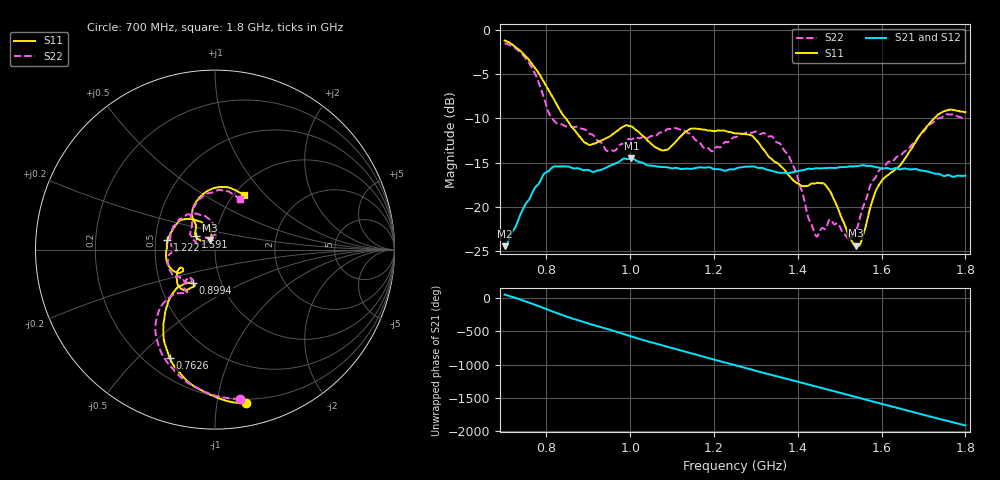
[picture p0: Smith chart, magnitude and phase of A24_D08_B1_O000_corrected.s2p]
! Created with skrf 1.9.0 (http://scikit-rf.org).
# Hz S RI R 50.0
!freq ReS11 ImS11 ReS21 ImS21 ReS12 ImS12 ReS22 ImS22
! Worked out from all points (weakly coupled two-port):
!   1601 points, 700 MHz to 1.8 GHz, reference 50 ohm
!   highest |S21| = -14.52 dB at 1.002 GHz (marker M1); lowest = -24.5 dB at 700.7 MHz (marker M2)
!   lowest |S11| = -24.4 dB at 1.538 GHz (marker M3), VSWR 1.13, Z = 47 + j5.02 ohm
!   |S11| at or under -10 dB: 846 MHz to 1.725 GHz (879.4 MHz wide, 68.4 % of centre)
!   |S22| runs from -23.8 to -1.5 dB; largest |S21 - S12| = 0.0037
!   S11 on the Smith chart (normalised r, x): 700 MHz: 0.17, -1.21; 762.6 MHz: 0.30, -0.63; 899.4 MHz: 0.73, -0.29; 1.222 GHz: 0.58, +0.07; 1.591 GHz: 0.80, +0.12; 1.8 GHz: 1.12, +0.76
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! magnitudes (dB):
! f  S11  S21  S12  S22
! 700 MHz  -1.2  -24.5  -24.3  -1.5
! 700.7 MHz  -1.2  -24.5  -24.2  -1.5
! 762.6 MHz  -3.7  -18.8  -18.8  -4.0
! 815.5 MHz  -7.7  -15.5  -15.6  -10.1
! 883.6 MHz  -12.3  -15.8  -15.7  -11.2
! 899.4 MHz  -12.9  -15.8  -15.9  -11.6
! 946.8 MHz  -12.2  -15.5  -15.5  -13.7
! 1.002 GHz  -10.9  -14.5  -14.6  -12.4
! 1.067 GHz  -13.4  -15.5  -15.4  -11.7
! 1.144 GHz  -11.2  -15.7  -15.7  -11.8
! 1.194 GHz  -11.4  -15.6  -15.6  -13.7
! 1.222 GHz  -11.4  -15.9  -15.9  -12.8
! 1.25 GHz  -11.7  -15.7  -15.6  -12.1
! 1.359 GHz  -15.4  -16.2  -16.1  -12.9
! 1.394 GHz  -17.2  -16.0  -16.0  -15.9
! 1.434 GHz  -17.4  -15.7  -15.7  -22.1
! 1.472 GHz  -17.9  -15.6  -15.6  -21.8
! 1.538 GHz  -24.4  -15.4  -15.4  -22.8
! 1.591 GHz  -17.7  -15.6  -15.6  -16.1
! 1.617 GHz  -16.3  -15.7  -15.6  -14.9
! 1.733 GHz  -9.6  -16.3  -16.3  -10.0
! 1.8 GHz  -9.3  -16.5  -16.5  -10.1
